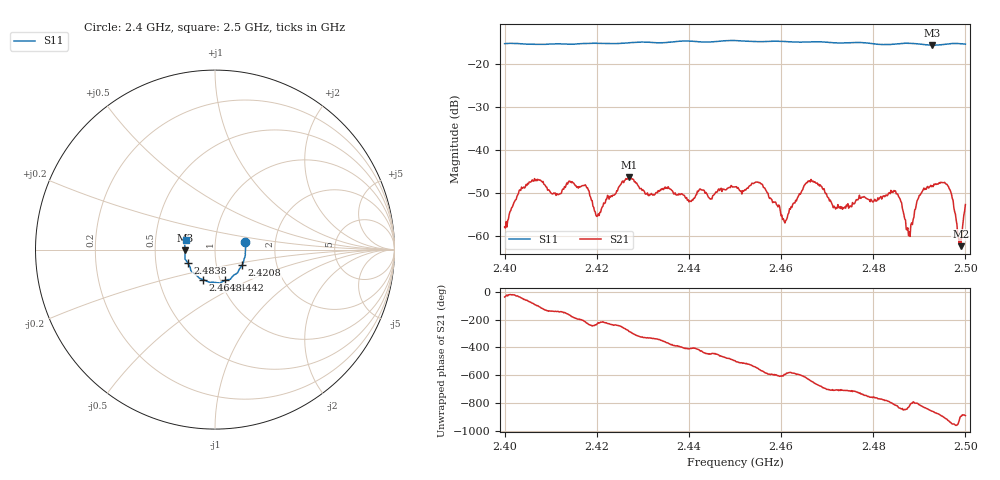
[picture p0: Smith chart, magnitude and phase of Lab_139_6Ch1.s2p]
# Hz S RI R 50
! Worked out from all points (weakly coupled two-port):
!   601 points, 2.4 GHz to 2.5 GHz, reference 50 ohm
!   highest |S21| = -46.30 dB at 2.427 GHz (marker M1); lowest = -62.4 dB at 2.499 GHz (marker M2)
!   lowest |S11| = -15.6 dB at 2.4928 GHz (marker M3), VSWR 1.40, Z = 35.8 - j0.362 ohm
!   |S11| at or under -10 dB: start of sweep to end of sweep
!   S12 and S22 are empty: the file has one direction only
!   S11 on the Smith chart (normalised r, x): 2.4 GHz: 1.40, +0.12; 2.4208 GHz: 1.33, -0.24; 2.4442 GHz: 1.05, -0.37; 2.4648 GHz: 0.83, -0.29; 2.4838 GHz: 0.73, -0.11; 2.5 GHz: 0.72, +0.08
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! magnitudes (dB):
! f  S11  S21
! 2.4 GHz  -15.3  -57.9
! 2.406 GHz  -15.4  -46.9
! 2.4167 GHz  -15.2  -48.4
! 2.4208 GHz  -15.2  -54.5
! 2.427 GHz  -15.0  -46.3
! 2.4333 GHz  -15.0  -49.4
! 2.4442 GHz  -14.9  -50.9
! 2.45 GHz  -14.5  -48.6
! 2.4555 GHz  -14.8  -47.7
! 2.4608 GHz  -14.8  -57.0
! 2.4648 GHz  -14.9  -48.8
! 2.4667 GHz  -14.8  -47.2
! 2.4717 GHz  -15.1  -53.3
! 2.4833 GHz  -15.5  -50.0
! 2.4838 GHz  -15.4  -49.4
! 2.4857 GHz  -15.2  -51.1
! 2.4877 GHz  -15.2  -59.9
! 2.49 GHz  -15.3  -50.5
! 2.4928 GHz  -15.6  -48.4
! 2.4963 GHz  -15.3  -48.5
! 2.499 GHz  -15.3  -62.4
! 2.5 GHz  -15.4  -52.7
